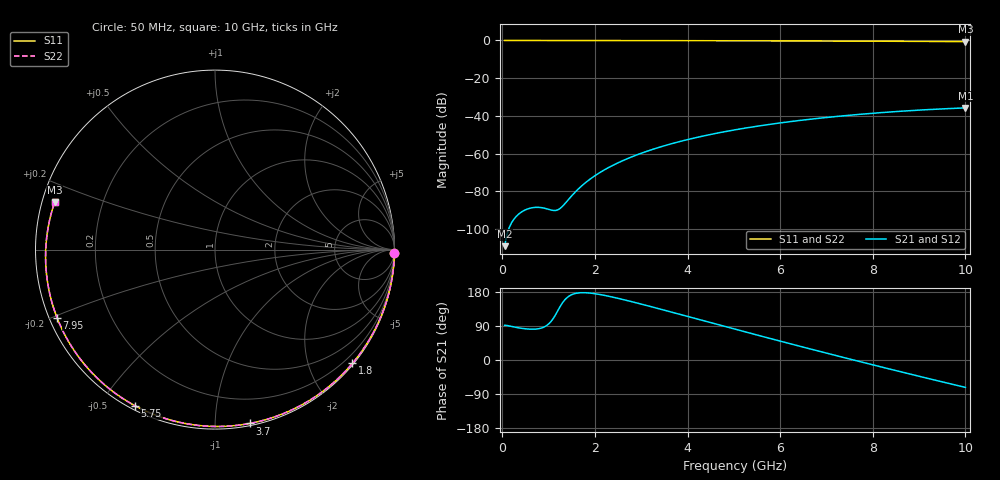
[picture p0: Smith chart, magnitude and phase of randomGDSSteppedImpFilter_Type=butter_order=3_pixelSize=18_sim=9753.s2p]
! freq	dB(S11)	phase(S11)	dB(S12)	phase(S12)
!  dB(S21)	phase(S21)	dB(S22)	phase(S22)
!S-par simulation data
#  GHz  S  DB  R 50
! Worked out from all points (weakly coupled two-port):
!   200 points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, 50 MHz to 10 GHz, reference 50 ohm
!   highest |S21| = -35.76 dB at 10 GHz (marker M1); lowest = -109.1 dB at 50 MHz (marker M2)
!   lowest |S11| = -0.6 dB at 10 GHz (marker M3), VSWR 28.22, Z = 1.81 + j7.26 ohm
!   |S11| at or under -10 dB: nowhere
!   |S22| runs from -0.6 to 0.0 dB; largest |S21 - S12| = 0
!   S11 on the Smith chart (normalised r, x): 50 MHz: open; 1.8 GHz: 0.03, -2.78; 3.7 GHz: 0.02, -1.22; 5.75 GHz: 0.02, -0.61; 7.95 GHz: 0.02, -0.21; 10 GHz: 0.04, +0.15
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0.05  -0.00 -1.1  -109.06 91.5  -109.06 91.5  -0.00 -1.1
0.75  -0.02 -16.8  -88.45 81.9  -88.45 81.9  -0.02 -16.7
1.15  -0.03 -25.5  -90.13 119.3  -90.13 119.3  -0.03 -25.5
1.55  -0.04 -34.2  -81.00 174.7  -81.00 174.7  -0.04 -34.2
1.6  -0.04 -35.3  -79.73 176.2  -79.73 176.2  -0.04 -35.3
1.75  -0.05 -38.5  -76.34 177.7  -76.34 177.7  -0.05 -38.5
1.8  -0.05 -39.6  -75.32 177.5  -75.32 177.5  -0.05 -39.6
2.1  -0.06 -46.0  -70.13 173.0  -70.13 173.0  -0.06 -46.0
2.45  -0.07 -53.3  -65.44 164.2  -65.44 164.2  -0.07 -53.3
2.9  -0.08 -62.6  -60.71 150.7  -60.71 150.7  -0.08 -62.6
3.4  -0.10 -72.7  -56.55 134.7  -56.55 134.7  -0.10 -72.7
3.7  -0.11 -78.6  -54.44 124.9  -54.44 124.9  -0.11 -78.6
4.35  -0.13 -91.2  -50.59 103.5  -50.59 103.5  -0.13 -91.1
5.05  -0.16 -104.3  -47.27 80.6  -47.27 80.6  -0.16 -104.3
5.75  -0.20 -117.1  -44.56 57.8  -44.56 57.8  -0.20 -117.1
6.7  -0.26 -134.2  -41.62 27.6  -41.62 27.6  -0.26 -134.2
7.35  -0.31 -145.9  -39.98 7.2  -39.98 7.2  -0.31 -145.8
7.95  -0.37 -156.7  -38.70 -11.2  -38.70 -11.2  -0.37 -156.7
8.35  -0.41 -164.1  -37.95 -23.4  -37.95 -23.4  -0.41 -164.1
9.2  -0.51 179.7  -36.65 -48.9  -36.65 -48.9  -0.51 179.7
9.6  -0.56 171.7  -36.16 -60.7  -36.16 -60.7  -0.56 171.7
10  -0.62 163.5  -35.76 -72.3  -35.76 -72.3  -0.62 163.5
